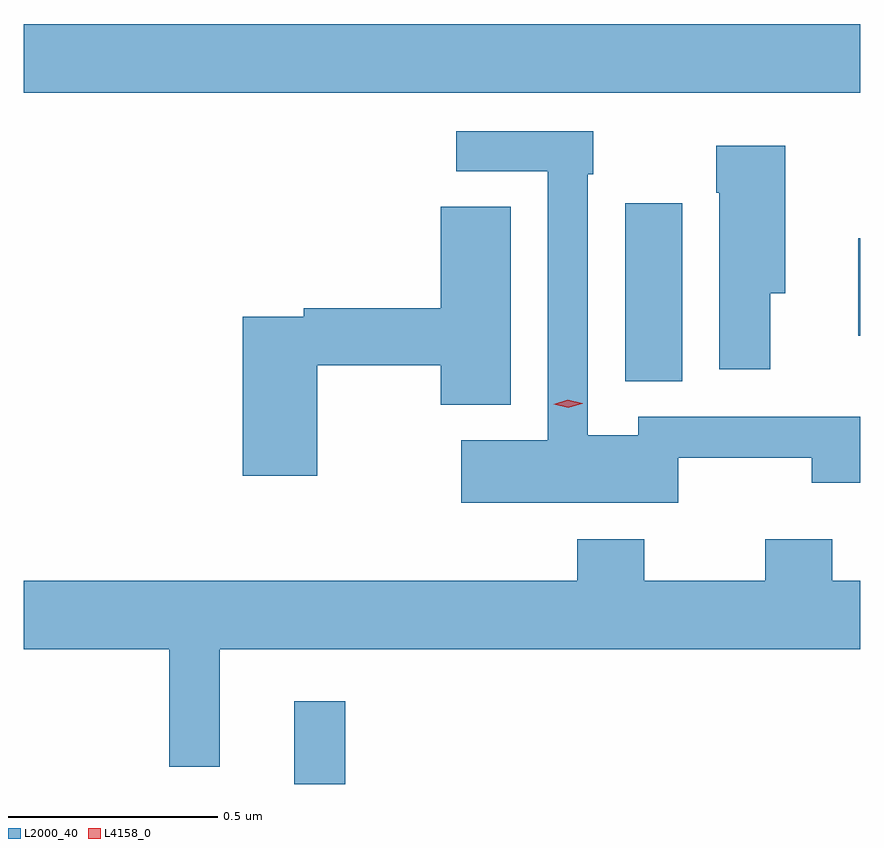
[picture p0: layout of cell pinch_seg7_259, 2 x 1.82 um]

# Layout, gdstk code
import gdstk
lib = gdstk.Library(unit=1e-6, precision=1e-09)
def R(c, l, rs):  # rectangles x0, y0, x1, y1
    for r in rs: c.add(gdstk.rectangle(r[:2], r[2:], *l))
def P(c, l, *ps):  # polygons
    for p in ps: c.add(gdstk.Polygon(p, *l))
L2000_40 = (2000, 40)
L4158_0 = (4158, 0)

pinch_seg7_259 = lib.new_cell('pinch_seg7_259')
R(pinch_seg7_259, L2000_40, [(825.683,1069.558,825.805,1069.756), (826.475,1070.521,826.612,1070.947), (827.033,1070.63,827.037,1070.863), (825.037,1071.212,827.037,1071.376)])
P(pinch_seg7_259, L2000_40, [(826.602,1070.339),(826.922,1070.339),(826.922,1070.279),(827.037,1070.279),(827.037,1070.437),(827.026,1070.437),(827.026,1070.436),(826.506,1070.436),(826.506,1070.392),(826.386,1070.392),(826.386,1071.017),(826.399,1071.017),(826.399,1071.12),(826.071,1071.12),(826.071,1071.024),(826.29,1071.024),(826.29,1070.38),(826.083,1070.38),(826.083,1070.231),(826.602,1070.231)],
  [(826.822,1070.732),(826.858,1070.732),(826.858,1071.085),(826.693,1071.085),(826.693,1070.972),(826.7,1070.972),(826.7,1070.55),(826.822,1070.55)],
  [(825.738,1070.56),(826.034,1070.56),(826.034,1070.465),(826.201,1070.465),(826.201,1070.939),(826.034,1070.939),(826.034,1070.696),(825.706,1070.696),(825.706,1070.676),(825.56,1070.676),(825.56,1070.295),(825.738,1070.295)],
  [(825.505,1069.88),(827.037,1069.88),(827.037,1070.044),(826.97,1070.044),(826.97,1070.143),(826.81,1070.143),(826.81,1070.044),(826.521,1070.044),(826.521,1070.143),(826.361,1070.143),(826.361,1070.044),(825.037,1070.044),(825.037,1069.88),(825.384,1069.88),(825.384,1069.599),(825.505,1069.599)])
P(pinch_seg7_259, L4158_0, [(826.339,1070.458),(826.304,1070.466),(826.304,1070.466),(826.304,1070.467),(826.338,1070.477),(826.373,1070.469),(826.374,1070.469),(826.373,1070.468)])

lib.write_gds('pinch_seg7_259.gds')
